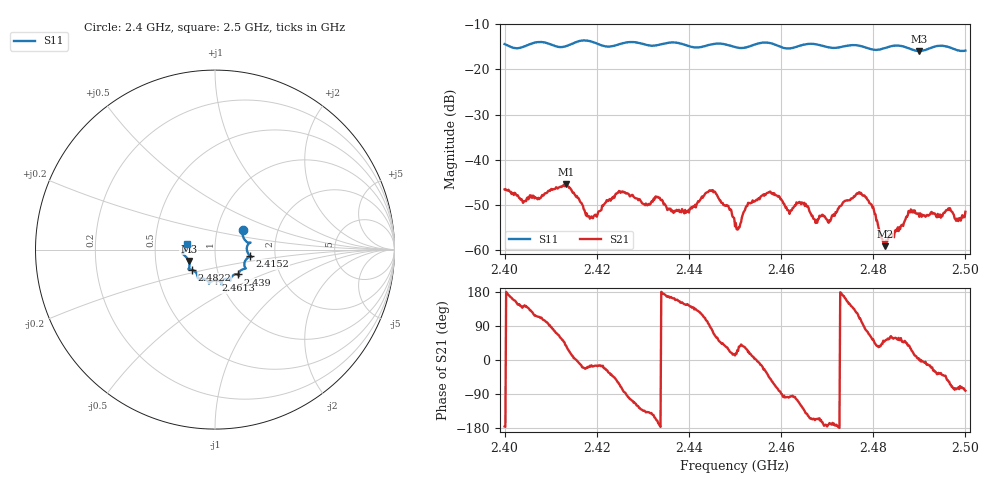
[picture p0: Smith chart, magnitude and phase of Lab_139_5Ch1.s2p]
# Hz S RI R 50
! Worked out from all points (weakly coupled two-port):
!   601 points, 2.4 GHz to 2.5 GHz, reference 50 ohm
!   highest |S21| = -45.47 dB at 2.4133 GHz (marker M1); lowest = -59.1 dB at 2.4825 GHz (marker M2)
!   lowest |S11| = -15.9 dB at 2.49 GHz (marker M3), VSWR 1.38, Z = 36.9 - j4.82 ohm
!   |S11| at or under -10 dB: start of sweep to end of sweep
!   S12 and S22 are empty: the file has one direction only
!   S11 on the Smith chart (normalised r, x): 2.4 GHz: 1.33, +0.31; 2.4152 GHz: 1.48, -0.11; 2.439 GHz: 1.24, -0.36; 2.4613 GHz: 0.96, -0.34; 2.4822 GHz: 0.76, -0.17; 2.5 GHz: 0.73, +0.05
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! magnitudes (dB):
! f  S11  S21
! 2.4 GHz  -14.4  -46.6
! 2.4042 GHz  -14.9  -49.2
! 2.4133 GHz  -14.8  -45.5
! 2.4152 GHz  -14.1  -47.6
! 2.4167 GHz  -13.6  -49.6
! 2.4188 GHz  -13.8  -52.6
! 2.425 GHz  -14.4  -47.0
! 2.4333 GHz  -14.6  -48.3
! 2.439 GHz  -14.5  -51.9
! 2.445 GHz  -14.4  -47.0
! 2.45 GHz  -15.0  -54.7
! 2.4573 GHz  -14.1  -47.3
! 2.4613 GHz  -15.3  -51.1
! 2.4667 GHz  -14.3  -52.5
! 2.4703 GHz  -15.1  -54.0
! 2.477 GHz  -14.7  -47.2
! 2.4797 GHz  -15.5  -50.0
! 2.4822 GHz  -15.4  -58.3
! 2.4825 GHz  -15.3  -59.1
! 2.4833 GHz  -15.0  -57.2
! 2.49 GHz  -15.9  -52.6
! 2.5 GHz  -15.8  -51.5
